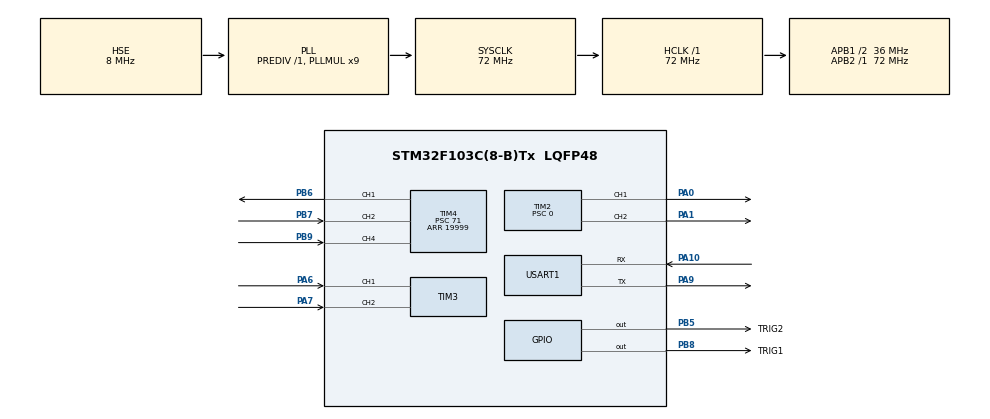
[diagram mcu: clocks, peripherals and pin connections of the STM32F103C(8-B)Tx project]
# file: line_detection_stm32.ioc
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Dma.Request0=USART1_RX
Dma.USART1_RX.0.Direction=DMA_PERIPH_TO_MEMORY
Dma.USART1_RX.0.Instance=DMA1_Channel5
Dma.USART1_RX.0.MemDataAlignment=DMA_MDATAALIGN_BYTE
Dma.USART1_RX.0.MemInc=DMA_MINC_ENABLE
Dma.USART1_RX.0.Mode=DMA_CIRCULAR
Dma.USART1_RX.0.PeriphDataAlignment=DMA_PDATAALIGN_BYTE
Dma.USART1_RX.0.PeriphInc=DMA_PINC_DISABLE
Dma.USART1_RX.0.Priority=DMA_PRIORITY_LOW
Mcu.Family=STM32F1
Mcu.Name=STM32F103C(8-B)Tx
Mcu.Package=LQFP48
NVIC.DMA1_Channel5_IRQn=true\:0\:0\:false\:false\:true\:false\:true\:true
NVIC.PriorityGroup=NVIC_PRIORITYGROUP_4
NVIC.TIM1_UP_IRQn=true\:1\:0\:true\:false\:true\:true\:true\:true
NVIC.TIM4_IRQn=true\:2\:0\:true\:false\:true\:true\:true\:true
NVIC.USART1_IRQn=true\:3\:0\:true\:false\:true\:true\:true\:true
PA0-WKUP.Signal=S_TIM2_CH1_ETR
PA1.Signal=S_TIM2_CH2
PA10.Mode=Asynchronous
PA10.Signal=USART1_RX
PA13.Mode=Serial_Wire
PA13.Signal=SYS_JTMS-SWDIO
PA14.Mode=Serial_Wire
PA14.Signal=SYS_JTCK-SWCLK
PA6.Signal=S_TIM3_CH1
PA7.Signal=S_TIM3_CH2
PA9.Mode=Asynchronous
PA9.Signal=USART1_TX
PB5.GPIO_Label=TRIG2
PB5.Signal=GPIO_Output
PB6.Signal=S_TIM4_CH1
PB7.Signal=S_TIM4_CH2
PB8.GPIO_Label=TRIG1
PB8.GPIO_Speed=GPIO_SPEED_FREQ_HIGH
PB8.Signal=GPIO_Output
PB9.Signal=S_TIM4_CH4
PD0-OSC_IN.Mode=HSE-External-Oscillator
PD0-OSC_IN.Signal=RCC_OSC_IN
PD1-OSC_OUT.Mode=HSE-External-Oscillator
PD1-OSC_OUT.Signal=RCC_OSC_OUT
ProjectManager.HeapSize=0x200
ProjectManager.StackSize=0x400
ProjectManager.TargetToolchain=STM32CubeIDE
RCC.AHBFreq_Value=72000000
RCC.APB1CLKDivider=RCC_HCLK_DIV2
RCC.APB1Freq_Value=36000000
RCC.APB1TimFreq_Value=72000000
RCC.APB2Freq_Value=72000000
RCC.APB2TimFreq_Value=72000000
RCC.HCLKFreq_Value=72000000
RCC.PLLMUL=RCC_PLL_MUL9
RCC.PLLSourceVirtual=RCC_PLLSOURCE_HSE
RCC.SYSCLKFreq_VALUE=72000000
RCC.SYSCLKSource=RCC_SYSCLKSOURCE_PLLCLK
RCC.USBFreq_Value=72000000
SH.S_TIM2_CH1_ETR.0=TIM2_CH1,PWM Generation1 CH1
SH.S_TIM2_CH2.0=TIM2_CH2,PWM Generation2 CH2
SH.S_TIM3_CH1.0=TIM3_CH1,Encoder_Interface
SH.S_TIM3_CH2.0=TIM3_CH2,Encoder_Interface
SH.S_TIM4_CH1.0=TIM4_CH1,PWM Generation1 CH1
SH.S_TIM4_CH2.0=TIM4_CH2,Input_Capture2_from_TI2
SH.S_TIM4_CH4.0=TIM4_CH4,Input_Capture4_from_TI4
TIM1.Period=9
TIM1.Prescaler=71
TIM2.Channel-PWM\ Generation1\ CH1=TIM_CHANNEL_1
TIM2.Channel-PWM\ Generation2\ CH2=TIM_CHANNEL_2
TIM2.Period=3599
TIM2.Prescaler=0
TIM3.EncoderMode=TIM_ENCODERMODE_TI12
TIM4.AutoReloadPreload=TIM_AUTORELOAD_PRELOAD_ENABLE
TIM4.Channel-Input_Capture2_from_TI2=TIM_CHANNEL_2
TIM4.Channel-Input_Capture4_from_TI4=TIM_CHANNEL_4
TIM4.Channel-PWM\ Generation1\ CH1=TIM_CHANNEL_1
TIM4.ICFilter_CH2=4
TIM4.ICFilter_CH4=4
TIM4.Period=19999
TIM4.Prescaler=71
USART1.VirtualMode=VM_ASYNC
VP_TIM1_VS_ClockSourceINT.Mode=Internal
VP_TIM2_VS_ClockSourceINT.Mode=Internal
VP_TIM4_VS_ClockSourceINT.Mode=Internal
board=custom

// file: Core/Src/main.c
/* USER CODE BEGIN Header */
/**
  ******************************************************************************
  * @file           : main.c
  * @brief          : Main program body
  ******************************************************************************
  * @attention
  *
  * Copyright (c) 2026 STMicroelectronics.
  * All rights reserved.
  *
  * This software is licensed under terms that can be found in the LICENSE file
  * in the root directory of this software component.
  * If no LICENSE file comes with this software, it is provided AS-IS.
  *
  ******************************************************************************
  */
/* USER CODE END Header */
#include "main.h"

/* USER CODE BEGIN Includes */
#include "pid_dc.h"
#include "uart_comm.h"
#include "motor_dc.h"
#include "servo.h"
#include "hc_sr04.h"
#include <stdbool.h>
#include <limits.h>
/* USER CODE END Includes */

TIM_HandleTypeDef htim1;
TIM_HandleTypeDef htim2;
TIM_HandleTypeDef htim3;
TIM_HandleTypeDef htim4;

UART_HandleTypeDef huart1;
DMA_HandleTypeDef hdma_usart1_rx;

/* USER CODE BEGIN PV */
#define SAMPLE_TIME_MS 20
#define ENCODER_COUNTS_PER_REV 1500

PID_DC_Controller_t speed_pid;
uint32_t prev_tick = 0;

int16_t target_speed = 0;
int8_t steering_error = 0;
bool brake_command = false;
int16_t final_target_speed = 0;
int16_t actual_rpm = 0;
uint16_t dist_left = 999;
uint16_t dist_right = 999;

static int16_t Encoder_Delta_To_RPM(int16_t encoder_delta)
{
  int32_t rpm = ((int32_t)encoder_delta * 60000) /
                (ENCODER_COUNTS_PER_REV * SAMPLE_TIME_MS);
  if (rpm > INT16_MAX) return INT16_MAX;
  if (rpm < INT16_MIN) return INT16_MIN;
  return (int16_t)rpm;
}
/* USER CODE END PV */

void SystemClock_Config(void);
static void MX_GPIO_Init(void);
static void MX_DMA_Init(void);
static void MX_USART1_UART_Init(void);
static void MX_TIM2_Init(void);
static void MX_TIM3_Init(void);
static void MX_TIM4_Init(void);
static void MX_TIM1_Init(void);

int main(void)
{

  /* MCU Configuration--------------------------------------------------------*/

  /* Reset of all peripherals, Initializes the Flash interface and the Systick. */
  HAL_Init();

  /* Configure the system clock */
  SystemClock_Config();

  /* Initialize all configured peripherals */
  MX_GPIO_Init();
  MX_DMA_Init();
  MX_USART1_UART_Init();
  MX_TIM2_Init();
  MX_TIM3_Init();
  MX_TIM4_Init();
  MX_TIM1_Init();
  /* USER CODE BEGIN 2 */
  UART_Comm_Init(&huart1);
  Motor_Init(&htim2, &htim3);
  Servo_Init(&htim4);
  HC_SR04_Init(&htim4);

  PID_DC_Init(&speed_pid, 2500, 500, 100, -3599, 3599, 1000);
  prev_tick = HAL_GetTick();
  static bool last_brake_state = false; // Tracking trạng thái phanh cũ
  /* USER CODE END 2 */

  /* Infinite loop */
  /* USER CODE BEGIN WHILE */
  while (1)
  {
      // Parse liên tục dữ liệu từ bộ đệm DMA tròn (100% Non-blocking)
      UART_Comm_Process(&huart1);

      uint32_t current_tick = HAL_GetTick();

      if (current_tick - prev_tick >= SAMPLE_TIME_MS)
            {
          // Xử lý chống dồn lịch trình (Scheduler Overrun)
                if (current_tick - prev_tick > SAMPLE_TIME_MS * 2) {
                    prev_tick = current_tick;
                } else {
                    prev_tick += SAMPLE_TIME_MS;
                }
          // 1. Giải phóng cờ kẹt Input Capture nếu mất xung Echo ở chu kỳ cũ
          HC_SR04_Watchdog_Check();

          // 2. Thu thập kết quả đo khoảng cách của chu kỳ trước
          dist_left = HC_SR04_Get_Distance_Left();
          dist_right = HC_SR04_Get_Distance_Right();

          // 3. Kích phát xung Trigger mới (Đã sửa đổi tích hợp Reset Counter TIM1)
          HC_SR04_Trigger_Start(&htim1);

          // 4. Cập nhật máy trạng thái FSM an toàn hệ thống
          FSM_Update(dist_left, dist_right);
          FSM_Get_Control_Signals(&target_speed, &steering_error, &brake_command);
          // TỐI ƯU PID: Reset thông số Integral ngay khi nhả phanh khẩn cấp
                    if (last_brake_state == true && brake_command == false) {
                        PID_DC_Reset(&speed_pid);
                    }
                    last_brake_state = brake_command;
          // 5. Đọc bộ đếm Encoder (Thuật toán Delta mới chống rớt xung phần cứng)
          int16_t encoder_delta = Motor_Read_Encoder();
          actual_rpm = Encoder_Delta_To_RPM(encoder_delta);

          // 6. Điều hướng góc Servo bằng bộ lọc Slew-rate
          Servo_Set_Target_Angle(steering_error);
          Servo_Update_Slew_Rate();

          // 7. Bù trừ động lực học cua gắt (Tự động giảm tốc chống lật xe)
          final_target_speed = Dynamics_Compensate_Speed(target_speed, steering_error);

          // 8. Tính toán PID vận tốc động cơ DC
          speed_pid.setpoint = final_target_speed;
          int32_t pid_output = PID_DC_Compute(&speed_pid, actual_rpm);

          // 9. Thực thi PWM ra Driver DRV8871 (Tích hợp Active Brake)
          Motor_Drive((int16_t)pid_output, brake_command);

          // 10. Gửi Telemetry an toàn về Raspberry Pi 5
          UART_Comm_Send(&huart1, dist_left, dist_right, actual_rpm);
      }
    /* USER CODE END WHILE */

  }
}

void SystemClock_Config(void)
{
  RCC_OscInitTypeDef RCC_OscInitStruct = {0};
  RCC_ClkInitTypeDef RCC_ClkInitStruct = {0};

  /** Initializes the RCC Oscillators according to the specified parameters
  * in the RCC_OscInitTypeDef structure.
  */
  RCC_OscInitStruct.OscillatorType = RCC_OSCILLATORTYPE_HSE;
  RCC_OscInitStruct.HSEState = RCC_HSE_ON;
  RCC_OscInitStruct.HSEPredivValue = RCC_HSE_PREDIV_DIV1;
  RCC_OscInitStruct.HSIState = RCC_HSI_ON;
  RCC_OscInitStruct.PLL.PLLState = RCC_PLL_ON;
  RCC_OscInitStruct.PLL.PLLSource = RCC_PLLSOURCE_HSE;
  RCC_OscInitStruct.PLL.PLLMUL = RCC_PLL_MUL9;
  if (HAL_RCC_OscConfig(&RCC_OscInitStruct) != HAL_OK)
  {
    Error_Handler();
  }

  /** Initializes the CPU, AHB and APB buses clocks
  */
  RCC_ClkInitStruct.ClockType = RCC_CLOCKTYPE_HCLK|RCC_CLOCKTYPE_SYSCLK
                              |RCC_CLOCKTYPE_PCLK1|RCC_CLOCKTYPE_PCLK2;
  RCC_ClkInitStruct.SYSCLKSource = RCC_SYSCLKSOURCE_PLLCLK;
  RCC_ClkInitStruct.AHBCLKDivider = RCC_SYSCLK_DIV1;
  RCC_ClkInitStruct.APB1CLKDivider = RCC_HCLK_DIV2;
  RCC_ClkInitStruct.APB2CLKDivider = RCC_HCLK_DIV1;

  if (HAL_RCC_ClockConfig(&RCC_ClkInitStruct, FLASH_LATENCY_2) != HAL_OK)
  {
    Error_Handler();
  }
}

static void MX_TIM1_Init(void)
{

  TIM_ClockConfigTypeDef sClockSourceConfig = {0};
  TIM_MasterConfigTypeDef sMasterConfig = {0};

  htim1.Instance = TIM1;
  htim1.Init.Prescaler = 71;
  htim1.Init.CounterMode = TIM_COUNTERMODE_UP;
  htim1.Init.Period = 9;
  htim1.Init.ClockDivision = TIM_CLOCKDIVISION_DIV1;
  htim1.Init.RepetitionCounter = 0;
  htim1.Init.AutoReloadPreload = TIM_AUTORELOAD_PRELOAD_DISABLE;
  if (HAL_TIM_Base_Init(&htim1) != HAL_OK)
  {
    Error_Handler();
  }
  sClockSourceConfig.ClockSource = TIM_CLOCKSOURCE_INTERNAL;
  if (HAL_TIM_ConfigClockSource(&htim1, &sClockSourceConfig) != HAL_OK)
  {
    Error_Handler();
  }
  sMasterConfig.MasterOutputTrigger = TIM_TRGO_RESET;
  sMasterConfig.MasterSlaveMode = TIM_MASTERSLAVEMODE_DISABLE;
  if (HAL_TIMEx_MasterConfigSynchronization(&htim1, &sMasterConfig) != HAL_OK)
  {
    Error_Handler();
  }

}

static void MX_TIM2_Init(void)
{

  TIM_ClockConfigTypeDef sClockSourceConfig = {0};
  TIM_MasterConfigTypeDef sMasterConfig = {0};
  TIM_OC_InitTypeDef sConfigOC = {0};

  htim2.Instance = TIM2;
  htim2.Init.Prescaler = 0;
  htim2.Init.CounterMode = TIM_COUNTERMODE_UP;
  htim2.Init.Period = 3599;
  htim2.Init.ClockDivision = TIM_CLOCKDIVISION_DIV1;
  htim2.Init.AutoReloadPreload = TIM_AUTORELOAD_PRELOAD_DISABLE;
  if (HAL_TIM_Base_Init(&htim2) != HAL_OK)
  {
    Error_Handler();
  }
  sClockSourceConfig.ClockSource = TIM_CLOCKSOURCE_INTERNAL;
  if (HAL_TIM_ConfigClockSource(&htim2, &sClockSourceConfig) != HAL_OK)
  {
    Error_Handler();
  }
  if (HAL_TIM_PWM_Init(&htim2) != HAL_OK)
  {
    Error_Handler();
  }
  sMasterConfig.MasterOutputTrigger = TIM_TRGO_RESET;
  sMasterConfig.MasterSlaveMode = TIM_MASTERSLAVEMODE_DISABLE;
  if (HAL_TIMEx_MasterConfigSynchronization(&htim2, &sMasterConfig) != HAL_OK)
  {
    Error_Handler();
  }
  sConfigOC.OCMode = TIM_OCMODE_PWM1;
  sConfigOC.Pulse = 0;
  sConfigOC.OCPolarity = TIM_OCPOLARITY_HIGH;
  sConfigOC.OCFastMode = TIM_OCFAST_DISABLE;
  if (HAL_TIM_PWM_ConfigChannel(&htim2, &sConfigOC, TIM_CHANNEL_1) != HAL_OK)
  {
    Error_Handler();
  }
  if (HAL_TIM_PWM_ConfigChannel(&htim2, &sConfigOC, TIM_CHANNEL_2) != HAL_OK)
  {
    Error_Handler();
  }
  HAL_TIM_MspPostInit(&htim2);

}

static void MX_TIM3_Init(void)
{

  TIM_Encoder_InitTypeDef sConfig = {0};
  TIM_MasterConfigTypeDef sMasterConfig = {0};

  htim3.Instance = TIM3;
  htim3.Init.Prescaler = 0;
  htim3.Init.CounterMode = TIM_COUNTERMODE_UP;
  htim3.Init.Period = 65535;
  htim3.Init.ClockDivision = TIM_CLOCKDIVISION_DIV1;
  htim3.Init.AutoReloadPreload = TIM_AUTORELOAD_PRELOAD_DISABLE;
  sConfig.EncoderMode = TIM_ENCODERMODE_TI12;
  sConfig.IC1Polarity = TIM_ICPOLARITY_RISING;
  sConfig.IC1Selection = TIM_ICSELECTION_DIRECTTI;
  sConfig.IC1Prescaler = TIM_ICPSC_DIV1;
  sConfig.IC1Filter = 0;
  sConfig.IC2Polarity = TIM_ICPOLARITY_RISING;
  sConfig.IC2Selection = TIM_ICSELECTION_DIRECTTI;
  sConfig.IC2Prescaler = TIM_ICPSC_DIV1;
  sConfig.IC2Filter = 0;
  if (HAL_TIM_Encoder_Init(&htim3, &sConfig) != HAL_OK)
  {
    Error_Handler();
  }
  sMasterConfig.MasterOutputTrigger = TIM_TRGO_RESET;
  sMasterConfig.MasterSlaveMode = TIM_MASTERSLAVEMODE_DISABLE;
  if (HAL_TIMEx_MasterConfigSynchronization(&htim3, &sMasterConfig) != HAL_OK)
  {
    Error_Handler();
  }

}

static void MX_TIM4_Init(void)
{

  TIM_ClockConfigTypeDef sClockSourceConfig = {0};
  TIM_MasterConfigTypeDef sMasterConfig = {0};
  TIM_OC_InitTypeDef sConfigOC = {0};
  TIM_IC_InitTypeDef sConfigIC = {0};

  htim4.Instance = TIM4;
  htim4.Init.Prescaler = 71;
  htim4.Init.CounterMode = TIM_COUNTERMODE_UP;
  htim4.Init.Period = 19999;
  htim4.Init.ClockDivision = TIM_CLOCKDIVISION_DIV1;
  htim4.Init.AutoReloadPreload = TIM_AUTORELOAD_PRELOAD_ENABLE;
  if (HAL_TIM_Base_Init(&htim4) != HAL_OK)
  {
    Error_Handler();
  }
  sClockSourceConfig.ClockSource = TIM_CLOCKSOURCE_INTERNAL;
  if (HAL_TIM_ConfigClockSource(&htim4, &sClockSourceConfig) != HAL_OK)
  {
    Error_Handler();
  }
  if (HAL_TIM_PWM_Init(&htim4) != HAL_OK)
  {
    Error_Handler();
  }
  if (HAL_TIM_IC_Init(&htim4) != HAL_OK)
  {
    Error_Handler();
  }
  sMasterConfig.MasterOutputTrigger = TIM_TRGO_RESET;
  sMasterConfig.MasterSlaveMode = TIM_MASTERSLAVEMODE_DISABLE;
  if (HAL_TIMEx_MasterConfigSynchronization(&htim4, &sMasterConfig) != HAL_OK)
  {
    Error_Handler();
  }
  sConfigOC.OCMode = TIM_OCMODE_PWM1;
  sConfigOC.Pulse = 0;
  sConfigOC.OCPolarity = TIM_OCPOLARITY_HIGH;
  sConfigOC.OCFastMode = TIM_OCFAST_DISABLE;
  if (HAL_TIM_PWM_ConfigChannel(&htim4, &sConfigOC, TIM_CHANNEL_1) != HAL_OK)
  {
    Error_Handler();
  }
  sConfigIC.ICPolarity = TIM_INPUTCHANNELPOLARITY_RISING;
  sConfigIC.ICSelection = TIM_ICSELECTION_DIRECTTI;
  sConfigIC.ICPrescaler = TIM_ICPSC_DIV1;
  sConfigIC.ICFilter = 4;
  if (HAL_TIM_IC_ConfigChannel(&htim4, &sConfigIC, TIM_CHANNEL_2) != HAL_OK)
  {
    Error_Handler();
  }
  if (HAL_TIM_IC_ConfigChannel(&htim4, &sConfigIC, TIM_CHANNEL_4) != HAL_OK)
  {
    Error_Handler();
  }
  HAL_TIM_MspPostInit(&htim4);

}

static void MX_USART1_UART_Init(void)
{

  huart1.Instance = USART1;
  huart1.Init.BaudRate = 115200;
  huart1.Init.WordLength = UART_WORDLENGTH_8B;
  huart1.Init.StopBits = UART_STOPBITS_1;
  huart1.Init.Parity = UART_PARITY_NONE;
  huart1.Init.Mode = UART_MODE_TX_RX;
  huart1.Init.HwFlowCtl = UART_HWCONTROL_NONE;
  huart1.Init.OverSampling = UART_OVERSAMPLING_16;
  if (HAL_UART_Init(&huart1) != HAL_OK)
  {
    Error_Handler();
  }

}

static void MX_DMA_Init(void)
{

  /* DMA controller clock enable */
  __HAL_RCC_DMA1_CLK_ENABLE();

  /* DMA interrupt init */
  /* DMA1_Channel5_IRQn interrupt configuration */
  HAL_NVIC_SetPriority(DMA1_Channel5_IRQn, 0, 0);
  HAL_NVIC_EnableIRQ(DMA1_Channel5_IRQn);

}

static void MX_GPIO_Init(void)
{
  GPIO_InitTypeDef GPIO_InitStruct = {0};

  /* GPIO Ports Clock Enable */
  __HAL_RCC_GPIOD_CLK_ENABLE();
  __HAL_RCC_GPIOA_CLK_ENABLE();
  __HAL_RCC_GPIOB_CLK_ENABLE();

  /*Configure GPIO pin Output Level */
  HAL_GPIO_WritePin(GPIOB, TRIG2_Pin|TRIG1_Pin, GPIO_PIN_RESET);

  /*Configure GPIO pin : TRIG2_Pin */
  GPIO_InitStruct.Pin = TRIG2_Pin;
  GPIO_InitStruct.Mode = GPIO_MODE_OUTPUT_PP;
  GPIO_InitStruct.Pull = GPIO_NOPULL;
  GPIO_InitStruct.Speed = GPIO_SPEED_FREQ_LOW;
  HAL_GPIO_Init(TRIG2_GPIO_Port, &GPIO_InitStruct);

  /*Configure GPIO pin : TRIG1_Pin */
  GPIO_InitStruct.Pin = TRIG1_Pin;
  GPIO_InitStruct.Mode = GPIO_MODE_OUTPUT_PP;
  GPIO_InitStruct.Pull = GPIO_NOPULL;
  GPIO_InitStruct.Speed = GPIO_SPEED_FREQ_HIGH;
  HAL_GPIO_Init(TRIG1_GPIO_Port, &GPIO_InitStruct);

}

/* USER CODE BEGIN 4 */
void HAL_TIM_IC_CaptureCallback(TIM_HandleTypeDef *htim)
{
  if (htim->Instance == TIM4)
  {
    HC_SR04_IC_Callback(htim);
  }
}

void HAL_TIM_PeriodElapsedCallback(TIM_HandleTypeDef *htim)
{
  if (htim->Instance == TIM1)
  {
    HC_SR04_Trigger_IT(&htim1);
  }
}
/* USER CODE END 4 */

void Error_Handler(void)
{
  __disable_irq();
  while (1)
  {
  }
}
